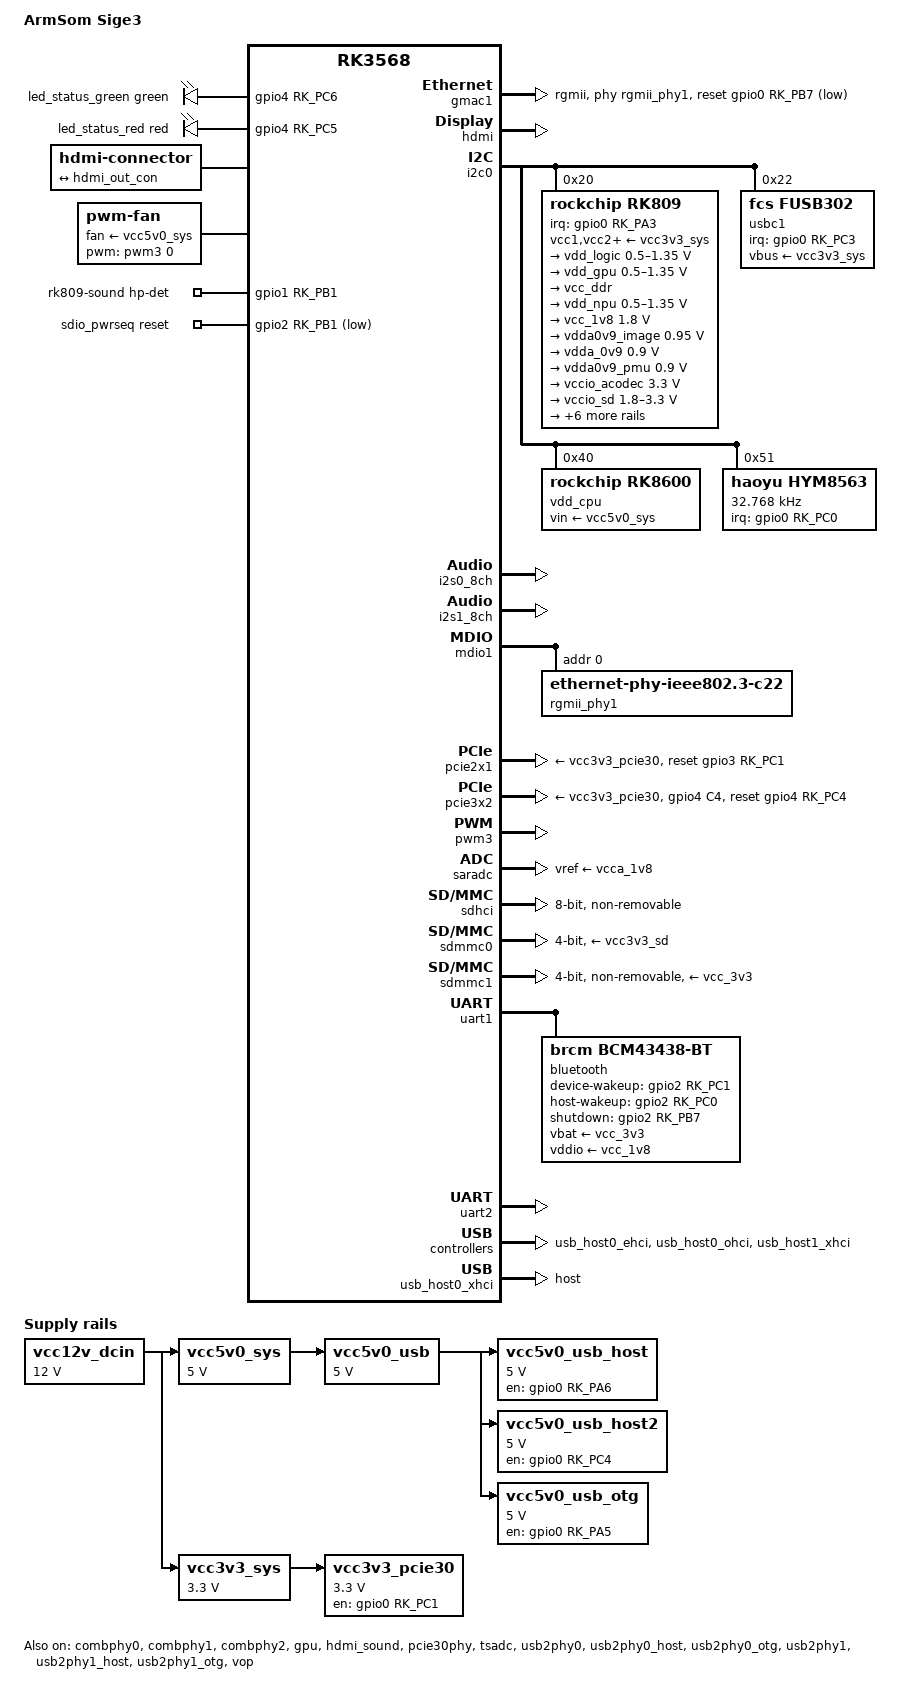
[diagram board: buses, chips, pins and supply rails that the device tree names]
// SPDX-License-Identifier: GPL-2.0-or-later OR MIT
/*
 * Copyright (c) 2020 Rockchip Electronics Co., Ltd.
 * Copyright (c) 2024 Tianling Shen <cnsztl@gmail.com>
 */

/dts-v1/;
#include <dt-bindings/gpio/gpio.h>
#include <dt-bindings/input/input.h>
#include <dt-bindings/leds/common.h>
#include <dt-bindings/pinctrl/rockchip.h>
#include <dt-bindings/soc/rockchip,vop2.h>
#include "rk3568.dtsi"

/ {
	model = "ArmSom Sige3";
	compatible = "armsom,sige3", "rockchip,rk3568";

	aliases {
		ethernet0 = &gmac1;
		mmc0 = &sdhci;
		mmc1 = &sdmmc0;
		mmc2 = &sdmmc1;

		led-boot = &led_status_red;
		led-failsafe = &led_status_red;
		led-running = &led_status_red;
		led-upgrade = &led_status_red;
	};

	chosen: chosen {
		stdout-path = "serial2:1500000n8";
	};

	gpio-leds {
		compatible = "gpio-leds";
		pinctrl-names = "default";
		pinctrl-0 = <&led_green_pin>, <&led_red_pin>;

		led_status_green: led-0 {
			color = <LED_COLOR_ID_GREEN>;
			function = LED_FUNCTION_STATUS;
			gpios = <&gpio4 RK_PC6 GPIO_ACTIVE_HIGH>;
			linux,default-trigger = "heartbeat";
		};

		led_status_red: led-1 {
			color = <LED_COLOR_ID_RED>;
			function = LED_FUNCTION_STATUS;
			gpios = <&gpio4 RK_PC5 GPIO_ACTIVE_HIGH>;
		};
	};

	hdmi-con {
		compatible = "hdmi-connector";
		type = "a";

		port {
			hdmi_con_in: endpoint {
				remote-endpoint = <&hdmi_out_con>;
			};
		};
	};

	fan: pwm-fan {
		compatible = "pwm-fan";
		cooling-levels = <0 50 100 150 200 255>;
		fan-supply = <&vcc5v0_sys>;
		pwms = <&pwm3 0 50000 0>;
		#cooling-cells = <2>;
	};

	rk809-sound {
		compatible = "simple-audio-card";
		pinctrl-names = "default";
		pinctrl-0 = <&hp_det_pin>;
		simple-audio-card,name = "Analog RK817";
		simple-audio-card,format = "i2s";
		simple-audio-card,hp-det-gpio = <&gpio1 RK_PB1 GPIO_ACTIVE_HIGH>;
		simple-audio-card,mclk-fs = <256>;
		simple-audio-card,widgets =
			"Headphone", "Headphones",
			"Speaker", "Speaker";
		simple-audio-card,routing =
			"Headphones", "HPOL",
			"Headphones", "HPOR",
			"Speaker", "SPKO";

		simple-audio-card,cpu {
			sound-dai = <&i2s1_8ch>;
		};

		simple-audio-card,codec {
			sound-dai = <&rk809>;
		};
	};

	sdio_pwrseq: sdio-pwrseq {
		compatible = "mmc-pwrseq-simple";
		clocks = <&pmucru CLK_RTC_32K>;
		clock-names = "ext_clock";
		pinctrl-names = "default";
		pinctrl-0 = <&wifi_enable_h &clk32k_out1>;
		post-power-on-delay-ms = <100>;
		power-off-delay-us = <5000000>;
		reset-gpios = <&gpio2 RK_PB1 GPIO_ACTIVE_LOW>;
	};

	vcc12v_dcin: vcc12v-dcin-regulator {
		compatible = "regulator-fixed";
		regulator-name = "vcc12v_dcin";
		regulator-always-on;
		regulator-boot-on;
		regulator-min-microvolt = <12000000>;
		regulator-max-microvolt = <12000000>;
	};

	vcc5v0_sys: vcc5v0-sys-regulator {
		compatible = "regulator-fixed";
		regulator-name = "vcc5v0_sys";
		regulator-always-on;
		regulator-boot-on;
		regulator-min-microvolt = <5000000>;
		regulator-max-microvolt = <5000000>;
		vin-supply = <&vcc12v_dcin>;
	};

	vcc3v3_sys: vcc3v3-sys-regulator {
		compatible = "regulator-fixed";
		regulator-name = "vcc3v3_sys";
		regulator-always-on;
		regulator-boot-on;
		regulator-min-microvolt = <3300000>;
		regulator-max-microvolt = <3300000>;
		vin-supply = <&vcc12v_dcin>;
	};

	vcc3v3_pcie30: vcc3v3-pcie30-regulator {
		compatible = "regulator-fixed";
		enable-active-high;
		gpio = <&gpio0 RK_PC1 GPIO_ACTIVE_HIGH>;
		pinctrl-names = "default";
		pinctrl-0 = <&pcie30_pwren_h>;
		regulator-name = "vcc3v3_pcie30";
		regulator-min-microvolt = <3300000>;
		regulator-max-microvolt = <3300000>;
		startup-delay-us = <5000>;
		vin-supply = <&vcc3v3_sys>;
	};

	vcc5v0_usb: vcc5v0-usb-regulator {
		compatible = "regulator-fixed";
		regulator-name = "vcc5v0_usb";
		regulator-always-on;
		regulator-boot-on;
		regulator-min-microvolt = <5000000>;
		regulator-max-microvolt = <5000000>;
		vin-supply = <&vcc5v0_sys>;
	};

	vcc5v0_usb_host: vcc5v0-usb-host-regulator {
		compatible = "regulator-fixed";
		enable-active-high;
		gpio = <&gpio0 RK_PA6 GPIO_ACTIVE_HIGH>;
		pinctrl-names = "default";
		pinctrl-0 = <&vcc5v0_usb_host_en>;
		regulator-name = "vcc5v0_usb_host";
		regulator-min-microvolt = <5000000>;
		regulator-max-microvolt = <5000000>;
		vin-supply = <&vcc5v0_usb>;
	};

	vcc5v0_usb_host2: vcc5v0-usb-host2-regulator {
		compatible = "regulator-fixed";
		enable-active-high;
		gpio = <&gpio0 RK_PC4 GPIO_ACTIVE_HIGH>;
		pinctrl-names = "default";
		pinctrl-0 = <&vcc5v0_usb_host2_en>;
		regulator-name = "vcc5v0_usb_host2";
		regulator-min-microvolt = <5000000>;
		regulator-max-microvolt = <5000000>;
		vin-supply = <&vcc5v0_usb>;
	};

	vcc5v0_usb_otg: vcc5v0-usb-otg-regulator {
		compatible = "regulator-fixed";
		enable-active-high;
		gpio = <&gpio0 RK_PA5 GPIO_ACTIVE_HIGH>;
		pinctrl-names = "default";
		pinctrl-0 = <&vcc5v0_usb_otg_en>;
		regulator-name = "vcc5v0_usb_otg";
		regulator-min-microvolt = <5000000>;
		regulator-max-microvolt = <5000000>;
		vin-supply = <&vcc5v0_usb>;
	};
};

&combphy0 {
	status = "okay";
};

&combphy1 {
	status = "okay";
};

&combphy2 {
	status = "okay";
};

&cpu0 {
	cpu-supply = <&vdd_cpu>;
};

&cpu1 {
	cpu-supply = <&vdd_cpu>;
};

&cpu2 {
	cpu-supply = <&vdd_cpu>;
};

&cpu3 {
	cpu-supply = <&vdd_cpu>;
};

&gpu {
	mali-supply = <&vdd_gpu>;
	status = "okay";
};

&gmac1 {
	assigned-clocks = <&cru SCLK_GMAC1_RX_TX>, <&cru SCLK_GMAC1>;
	assigned-clock-parents = <&cru SCLK_GMAC1_RGMII_SPEED>, <&cru CLK_MAC1_2TOP>;
	assigned-clock-rates = <0>, <125000000>;
	clock_in_out = "output";
	phy-mode = "rgmii";
	phy-handle = <&rgmii_phy1>;
	pinctrl-names = "default";
	pinctrl-0 = <&gmac1m1_miim
		     &gmac1m1_tx_bus2
		     &gmac1m1_rx_bus2
		     &gmac1m1_rgmii_clk
		     &gmac1m1_rgmii_bus>;
	snps,reset-gpio = <&gpio0 RK_PB7 GPIO_ACTIVE_LOW>;
	snps,reset-active-low;
	/* Reset time is 20ms, 100ms for rtl8211f */
	snps,reset-delays-us = <0 20000 100000>;
	tx_delay = <0x48>;
	rx_delay = <0x2a>;
	status = "okay";
};

&hdmi {
	avdd-0v9-supply = <&vdda0v9_image>;
	avdd-1v8-supply = <&vcca1v8_image>;
	status = "okay";
};

&hdmi_in {
	hdmi_in_vp0: endpoint {
		remote-endpoint = <&vp0_out_hdmi>;
	};
};

&hdmi_out {
	hdmi_out_con: endpoint {
		remote-endpoint = <&hdmi_con_in>;
	};
};

&hdmi_sound {
	status = "okay";
};

&i2c0 {
	status = "okay";

	rk809: pmic@20 {
		compatible = "rockchip,rk809";
		reg = <0x20>;
		interrupt-parent = <&gpio0>;
		interrupts = <RK_PA3 IRQ_TYPE_LEVEL_LOW>;
		#clock-cells = <1>;
		clock-names = "mclk";
		clocks = <&cru I2S1_MCLKOUT_TX>;
		pinctrl-names = "default";
		pinctrl-0 = <&pmic_int>, <&i2s1m0_mclk>;
		system-power-controller;
		#sound-dai-cells = <0>;
		vcc1-supply = <&vcc3v3_sys>;
		vcc2-supply = <&vcc3v3_sys>;
		vcc3-supply = <&vcc3v3_sys>;
		vcc4-supply = <&vcc3v3_sys>;
		vcc5-supply = <&vcc3v3_sys>;
		vcc6-supply = <&vcc3v3_sys>;
		vcc7-supply = <&vcc3v3_sys>;
		vcc8-supply = <&vcc3v3_sys>;
		vcc9-supply = <&vcc3v3_sys>;
		wakeup-source;

		regulators {
			vdd_logic: DCDC_REG1 {
				regulator-name = "vdd_logic";
				regulator-always-on;
				regulator-boot-on;
				regulator-initial-mode = <0x2>;
				regulator-min-microvolt = <500000>;
				regulator-max-microvolt = <1350000>;
				regulator-ramp-delay = <6001>;

				regulator-state-mem {
					regulator-off-in-suspend;
				};
			};

			vdd_gpu: DCDC_REG2 {
				regulator-name = "vdd_gpu";
				regulator-always-on;
				regulator-initial-mode = <0x2>;
				regulator-min-microvolt = <500000>;
				regulator-max-microvolt = <1350000>;
				regulator-ramp-delay = <6001>;

				regulator-state-mem {
					regulator-off-in-suspend;
				};
			};

			vcc_ddr: DCDC_REG3 {
				regulator-name = "vcc_ddr";
				regulator-always-on;
				regulator-boot-on;
				regulator-initial-mode = <0x2>;

				regulator-state-mem {
					regulator-on-in-suspend;
				};
			};

			vdd_npu: DCDC_REG4 {
				regulator-name = "vdd_npu";
				regulator-initial-mode = <0x2>;
				regulator-min-microvolt = <500000>;
				regulator-max-microvolt = <1350000>;
				regulator-ramp-delay = <6001>;

				regulator-state-mem {
					regulator-off-in-suspend;
				};
			};

			vcc_1v8: DCDC_REG5 {
				regulator-name = "vcc_1v8";
				regulator-always-on;
				regulator-boot-on;
				regulator-min-microvolt = <1800000>;
				regulator-max-microvolt = <1800000>;

				regulator-state-mem {
					regulator-off-in-suspend;
				};
			};

			vdda0v9_image: LDO_REG1 {
				regulator-name = "vdda0v9_image";
				regulator-min-microvolt = <950000>;
				regulator-max-microvolt = <950000>;

				regulator-state-mem {
					regulator-off-in-suspend;
				};
			};

			vdda_0v9: LDO_REG2 {
				regulator-name = "vdda_0v9";
				regulator-always-on;
				regulator-boot-on;
				regulator-min-microvolt = <900000>;
				regulator-max-microvolt = <900000>;

				regulator-state-mem {
					regulator-off-in-suspend;
				};
			};

			vdda0v9_pmu: LDO_REG3 {
				regulator-name = "vdda0v9_pmu";
				regulator-always-on;
				regulator-boot-on;
				regulator-min-microvolt = <900000>;
				regulator-max-microvolt = <900000>;

				regulator-state-mem {
					regulator-on-in-suspend;
					regulator-suspend-microvolt = <900000>;
				};
			};

			vccio_acodec: LDO_REG4 {
				regulator-name = "vccio_acodec";
				regulator-always-on;
				regulator-min-microvolt = <3300000>;
				regulator-max-microvolt = <3300000>;

				regulator-state-mem {
					regulator-off-in-suspend;
				};
			};

			vccio_sd: LDO_REG5 {
				regulator-name = "vccio_sd";
				regulator-min-microvolt = <1800000>;
				regulator-max-microvolt = <3300000>;

				regulator-state-mem {
					regulator-off-in-suspend;
				};
			};

			vcc3v3_pmu: LDO_REG6 {
				regulator-name = "vcc3v3_pmu";
				regulator-always-on;
				regulator-boot-on;
				regulator-min-microvolt = <3300000>;
				regulator-max-microvolt = <3300000>;

				regulator-state-mem {
					regulator-on-in-suspend;
					regulator-suspend-microvolt = <3300000>;
				};
			};

			vcca_1v8: LDO_REG7 {
				regulator-name = "vcca_1v8";
				regulator-always-on;
				regulator-boot-on;
				regulator-min-microvolt = <1800000>;
				regulator-max-microvolt = <1800000>;

				regulator-state-mem {
					regulator-off-in-suspend;
				};
			};

			vcca1v8_pmu: LDO_REG8 {
				regulator-name = "vcca1v8_pmu";
				regulator-always-on;
				regulator-boot-on;
				regulator-min-microvolt = <1800000>;
				regulator-max-microvolt = <1800000>;

				regulator-state-mem {
					regulator-on-in-suspend;
					regulator-suspend-microvolt = <1800000>;
				};
			};

			vcca1v8_image: LDO_REG9 {
				regulator-name = "vcca1v8_image";
				regulator-min-microvolt = <950000>;
				regulator-max-microvolt = <1800000>;

				regulator-state-mem {
					regulator-off-in-suspend;
					regulator-suspend-microvolt = <950000>;
				};
			};

			vcc_3v3: SWITCH_REG1 {
				regulator-name = "vcc_3v3";
				regulator-always-on;
				regulator-boot-on;

				regulator-state-mem {
					regulator-off-in-suspend;
				};
			};

			vcc3v3_sd: SWITCH_REG2 {
				regulator-name = "vcc3v3_sd";

				regulator-state-mem {
					regulator-off-in-suspend;
				};
			};
		};
	};

	usbc1: usb-typec@22 {
		compatible = "fcs,fusb302";
		reg = <0x22>;
		interrupt-parent = <&gpio0>;
		interrupts = <RK_PC3 IRQ_TYPE_LEVEL_LOW>;
		pinctrl-names = "default";
		pinctrl-0 = <&usbc1_int>;
		vbus-supply = <&vcc3v3_sys>;
	};

	vdd_cpu: regulator@40 {
		compatible = "rockchip,rk8600";
		reg = <0x40>;
		fcs,suspend-voltage-selector = <1>;
		regulator-name = "vdd_cpu";
		regulator-always-on;
		regulator-boot-on;
		regulator-min-microvolt = <712500>;
		regulator-max-microvolt = <1390000>;
		regulator-ramp-delay = <2300>;
		vin-supply = <&vcc5v0_sys>;

		regulator-state-mem {
			regulator-off-in-suspend;
		};
	};

	hym8563: hym8563@51 {
		compatible = "haoyu,hym8563";
		reg = <0x51>;
		#clock-cells = <0>;
		clock-frequency = <32768>;
		clock-output-names = "hym8563";
		pinctrl-names = "default";
		pinctrl-0 = <&hym8563_int>;
		interrupt-parent = <&gpio0>;
		interrupts = <RK_PC0 IRQ_TYPE_LEVEL_LOW>;
		wakeup-source;
	};
};

&i2s0_8ch {
	status = "okay";
};

&i2s1_8ch {
	pinctrl-names = "default";
	pinctrl-0 = <&i2s1m0_sclktx
		     &i2s1m0_lrcktx
		     &i2s1m0_sdi0
		     &i2s1m0_sdo0>;
	rockchip,trcm-sync-tx-only;
	status = "okay";
};

&mdio1 {
	rgmii_phy1: ethernet-phy@0 {
		compatible = "ethernet-phy-ieee802.3-c22";
		reg = <0>;
		pinctrl-0 = <&eth_phy_reset_pin>;
		pinctrl-names = "default";
		realtek,led-data = <0x2c1b>;
	};
};

&pcie2x1 {
	reset-gpios = <&gpio3 RK_PC1 GPIO_ACTIVE_HIGH>;
	vpcie3v3-supply = <&vcc3v3_pcie30>;
	status = "okay";
};

&pcie30phy {
	status = "okay";
};

&pcie3x2 {
	pinctrl-names = "default";
	pinctrl-0 = <&pcie30_reset_pin>;
	reset-gpios = <&gpio4 RK_PC4 GPIO_ACTIVE_HIGH>;
	vpcie3v3-supply = <&vcc3v3_pcie30>;
	status = "okay";
};

&pinctrl {
	bt {
		bt_reg_on_h: bt-reg-on-h {
			rockchip,pins = <2 RK_PB7 RK_FUNC_GPIO &pcfg_pull_none>;
		};

		bt_host_wake_h: bt-host-wake-h {
			rockchip,pins = <2 RK_PC0 RK_FUNC_GPIO &pcfg_pull_none>;
		};

		bt_wake_h: bt-wake-h {
			rockchip,pins = <2 RK_PC1 RK_FUNC_GPIO &pcfg_pull_none>;
		};
	};

	gmac1 {
		eth_phy_reset_pin: eth-phy-reset-pin {
			rockchip,pins = <0 RK_PB7 RK_FUNC_GPIO &pcfg_pull_down>;
		};
	};

	gpio-leds {
		led_green_pin: led-green-pin {
			rockchip,pins = <4 RK_PC6 RK_FUNC_GPIO &pcfg_pull_none>;
		};

		led_red_pin: led-red-pin {
			rockchip,pins = <4 RK_PC5 RK_FUNC_GPIO &pcfg_pull_none>;
		};
	};

	headphone {
		hp_det_pin: hp-det-pin {
			rockchip,pins = <1 RK_PB1 RK_FUNC_GPIO &pcfg_pull_down>;
		};
	};

	hym8563 {
		hym8563_int: hym8563-int {
			rockchip,pins = <0 RK_PC0 RK_FUNC_GPIO &pcfg_pull_none>;
		};
	};

	pcie30 {
		pcie30_pwren_h: pcie30-pwren-h {
			rockchip,pins = <0 RK_PC1 RK_FUNC_GPIO &pcfg_pull_down>;
		};

		pcie30_reset_pin: pcie30-reset-pin {
			rockchip,pins = <4 RK_PC4 RK_FUNC_GPIO &pcfg_pull_down>;
		};
	};

	pmic {
		pmic_int: pmic-int {
			rockchip,pins = <0 RK_PA3 RK_FUNC_GPIO &pcfg_pull_up>;
		};
	};

	sdio-pwrseq {
		wifi_enable_h: wifi-enable-h {
			rockchip,pins = <2 RK_PB1 RK_FUNC_GPIO &pcfg_pull_none>;
		};
	};

	usb {
		vcc5v0_usb_host_en: vcc5v0-usb-host-en {
			rockchip,pins = <0 RK_PA6 RK_FUNC_GPIO &pcfg_pull_none>;
		};

		vcc5v0_usb_host2_en: vcc5v0-usb-host2-en {
			rockchip,pins = <0 RK_PC4 RK_FUNC_GPIO &pcfg_pull_none>;
		};

		vcc5v0_usb_otg_en: vcc5v0-usb-otg-en {
			rockchip,pins = <0 RK_PA5 RK_FUNC_GPIO &pcfg_pull_none>;
		};

		usbc1_int: usbc1-int {
			rockchip,pins = <0 RK_PC3 RK_FUNC_GPIO &pcfg_pull_up>;
		};
	};
};

&pmu_io_domains {
	pmuio1-supply = <&vcc3v3_pmu>;
	pmuio2-supply = <&vcc3v3_pmu>;
	vccio1-supply = <&vccio_acodec>;
	vccio2-supply = <&vcc_1v8>;
	vccio3-supply = <&vccio_sd>;
	vccio4-supply = <&vcc_1v8>;
	vccio5-supply = <&vcc_3v3>;
	vccio6-supply = <&vcc_1v8>;
	vccio7-supply = <&vcc_3v3>;
	status = "okay";
};

&pwm3 {
	status = "okay";
};

&saradc {
	vref-supply = <&vcca_1v8>;
	status = "okay";
};

&sdhci {
	bus-width = <8>;
	max-frequency = <200000000>;
	non-removable;
	pinctrl-names = "default";
	pinctrl-0 = <&emmc_bus8 &emmc_clk &emmc_cmd &emmc_datastrobe>;
	status = "okay";
};

&sdmmc0 {
	bus-width = <4>;
	cap-mmc-highspeed;
	cap-sd-highspeed;
	disable-wp;
	max-frequency = <150000000>;
	no-sdio;
	no-mmc;
	pinctrl-names = "default";
	pinctrl-0 = <&sdmmc0_bus4 &sdmmc0_clk &sdmmc0_cmd &sdmmc0_det>;
	vmmc-supply = <&vcc3v3_sd>;
	vqmmc-supply = <&vccio_sd>;
	status = "okay";
};

&sdmmc1 {
	bus-width = <4>;
	cap-sd-highspeed;
	cap-sdio-irq;
	disable-wp;
	keep-power-in-suspend;
	mmc-pwrseq = <&sdio_pwrseq>;
	non-removable;
	pinctrl-names = "default";
	pinctrl-0 = <&sdmmc1_bus4 &sdmmc1_cmd &sdmmc1_clk>;
	sd-uhs-sdr104;
	vmmc-supply = <&vcc_3v3>;
	vqmmc-supply = <&vcc_1v8>;
	status = "okay";
};

&tsadc {
	rockchip,hw-tshut-mode = <1>;
	rockchip,hw-tshut-polarity = <0>;
	status = "okay";
};

&uart1 {
	pinctrl-names = "default";
	pinctrl-0 = <&uart1m0_xfer &uart1m0_ctsn &uart1m0_rtsn>;
	uart-has-rtscts;
	status = "okay";

	bluetooth {
		compatible = "brcm,bcm43438-bt";
		clocks = <&pmucru CLK_RTC_32K>;
		clock-names = "lpo";
		device-wakeup-gpios = <&gpio2 RK_PC1 GPIO_ACTIVE_HIGH>;
		host-wakeup-gpios = <&gpio2 RK_PC0 GPIO_ACTIVE_HIGH>;
		shutdown-gpios = <&gpio2 RK_PB7 GPIO_ACTIVE_HIGH>;
		pinctrl-names = "default";
		pinctrl-0 = <&bt_host_wake_h &bt_wake_h &bt_reg_on_h>;
		vbat-supply = <&vcc_3v3>;
		vddio-supply = <&vcc_1v8>;
	};
};

&uart2 {
	status = "okay";
};

&usb_host0_ehci {
	status = "okay";
};

&usb_host0_ohci {
	status = "okay";
};

&usb_host0_xhci {
	dr_mode = "host";
	extcon = <&usb2phy0>;
	status = "okay";
};

&usb_host1_xhci {
	status = "okay";
};

&usb2phy0 {
	status = "okay";
};

&usb2phy0_host {
	phy-supply = <&vcc5v0_usb_host>;
	status = "okay";
};

&usb2phy0_otg {
	phy-supply = <&vcc5v0_usb_otg>;
	status = "okay";
};

&usb2phy1 {
	status = "okay";
};

&usb2phy1_host {
	phy-supply = <&vcc5v0_usb_host2>;
	status = "okay";
};

&usb2phy1_otg {
	status = "okay";
};

&vop {
	assigned-clocks = <&cru DCLK_VOP0>, <&cru DCLK_VOP1>;
	assigned-clock-parents = <&pmucru PLL_HPLL>, <&cru PLL_VPLL>;
	status = "okay";
};

&vop_mmu {
	status = "okay";
};

&vp0 {
	vp0_out_hdmi: endpoint@ROCKCHIP_VOP2_EP_HDMI0 {
		reg = <ROCKCHIP_VOP2_EP_HDMI0>;
		remote-endpoint = <&hdmi_in_vp0>;
	};
};
